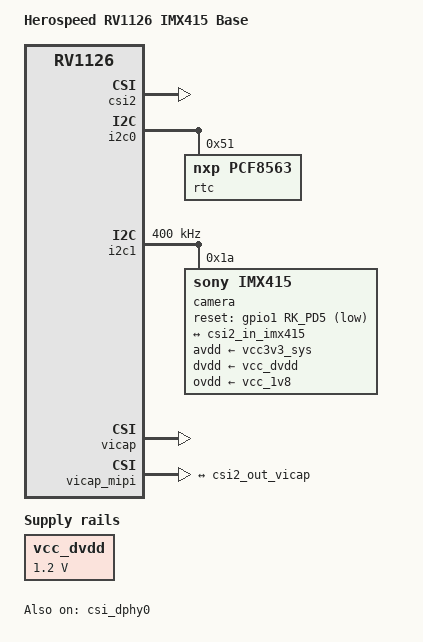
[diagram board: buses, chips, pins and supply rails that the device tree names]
// SPDX-License-Identifier: (GPL-2.0+ OR MIT)

/dts-v1/;
#include "rv1126-38x38-v10-emmc.dtsi"

/ {
	model = "Herospeed RV1126 IMX415 Base";
	compatible = "herospeed,rv1126-imx415", "rockchip,rv1126-38x38-v10-emmc",
		     "rockchip,rv1126";

	reserved-memory {
		#address-cells = <1>;
		#size-cells = <1>;
		ranges;

		linux,cma {
			compatible = "shared-dma-pool";
			linux,cma-default;
			reusable;
			size = <0x4000000>;
		};
	};

	vcc_dvdd: regulator-vcc-dvdd {
		compatible = "regulator-fixed";
		regulator-name = "vcc_dvdd";
		regulator-always-on;
		regulator-boot-on;
		regulator-min-microvolt = <1200000>;
		regulator-max-microvolt = <1200000>;
	};
};

&csi2 {
	status = "okay";
};

&csi2_in {
	csi2_in_imx415: endpoint {
		data-lanes = <1 2 3 4>;
		remote-endpoint = <&imx415_out>;
	};
};

&csi2_out {
	csi2_out_vicap: endpoint {
		remote-endpoint = <&vicap_in_csi2>;
	};
};

&csi_dphy0 {
	status = "okay";
};

&i2c0 {
	status = "okay";

	rtc@51 {
		compatible = "nxp,pcf8563";
		reg = <0x51>;
	};
};

&i2c1 {
	clock-frequency = <400000>;
	status = "okay";

	camera@1a {
		compatible = "sony,imx415";
		reg = <0x1a>;
		assigned-clocks = <&cru CLK_MIPICSI_OUT>;
		assigned-clock-rates = <37125000>;
		avdd-supply = <&vcc3v3_sys>;
		clocks = <&cru CLK_MIPICSI_OUT>;
		dvdd-supply = <&vcc_dvdd>;
		ovdd-supply = <&vcc_1v8>;
		pinctrl-names = "default";
		pinctrl-0 = <&mipicsi_clk0>;
		power-domains = <&power RV1126_PD_VI>;
		reset-gpios = <&gpio1 RK_PD5 GPIO_ACTIVE_LOW>;

		port {
			imx415_out: endpoint {
				data-lanes = <1 2 3 4>;
				link-frequencies = /bits/ 64 <445500000>;
				remote-endpoint = <&csi2_in_imx415>;
			};
		};
	};
};

&pinctrl {
	mipicsi {
		mipicsi_clk0: mipicsi-clk0 {
			rockchip,pins =
				<2 RK_PA3 1 &pcfg_pull_none>;
		};
	};
};

&vicap {
	status = "okay";
};

&vicap_mipi {
	vicap_in_csi2: endpoint {
		remote-endpoint = <&csi2_out_vicap>;
	};
};
